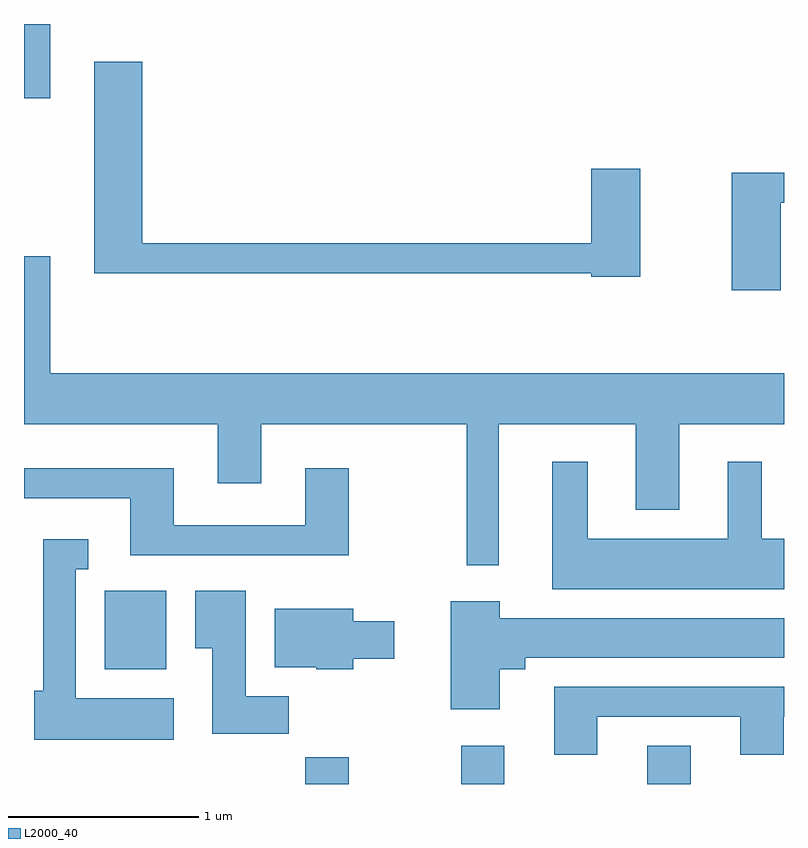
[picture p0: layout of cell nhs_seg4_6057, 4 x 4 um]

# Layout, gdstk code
import gdstk
lib = gdstk.Library(unit=1e-6, precision=1e-09)
def R(c, l, rs):  # rectangles x0, y0, x1, y1
    for r in rs: c.add(gdstk.rectangle(r[:2], r[2:], *l))
def P(c, l, *ps):  # polygons
    for p in ps: c.add(gdstk.Polygon(p, *l))
L2000_40 = (2000, 40)

nhs_seg4_6057 = lib.new_cell('nhs_seg4_6057')
R(nhs_seg4_6057, L2000_40, [(365.091,1263.982,365.319,1264.124), (365.911,1263.982,366.139,1264.184), (366.891,1263.982,367.119,1264.184), (364.036,1264.586,364.359,1264.999), (363.611,1267.591,363.749,1267.982)])
P(nhs_seg4_6057, L2000_40, [(366.854,1267.219),(366.596,1267.219),(366.596,1266.829),(364.234,1266.829),(364.234,1267.784),(363.981,1267.784),(363.981,1266.671),(366.596,1266.671),(366.596,1266.651),(366.854,1266.651)],
  [(367.594,1267.041),(367.611,1267.041),(367.611,1267.199),(367.336,1267.199),(367.336,1266.581),(367.594,1266.581)],
  [(366.109,1265.876),(366.831,1265.876),(366.831,1265.426),(367.059,1265.426),(367.059,1265.876),(367.611,1265.876),(367.611,1266.144),(363.749,1266.144),(363.749,1266.759),(363.611,1266.759),(363.611,1265.876),(364.631,1265.876),(364.631,1265.566),(364.859,1265.566),(364.859,1265.876),(365.941,1265.876),(365.941,1265.133),(366.109,1265.133)],
  [(367.611,1265.274),(367.494,1265.274),(367.494,1265.679),(367.316,1265.679),(367.316,1265.274),(366.579,1265.274),(366.579,1265.679),(366.391,1265.679),(366.391,1265.006),(367.611,1265.006)],
  [(365.319,1265.644),(365.091,1265.644),(365.091,1265.344),(364.399,1265.344),(364.399,1265.644),(363.611,1265.644),(363.611,1265.486),(364.171,1265.486),(364.171,1265.186),(365.319,1265.186)],
  [(364.399,1264.434),(363.884,1264.434),(363.884,1265.111),(363.948,1265.111),(363.948,1265.269),(363.711,1265.269),(363.711,1264.474),(363.666,1264.474),(363.666,1264.216),(364.399,1264.216)],
  [(365.004,1264.444),(364.779,1264.444),(364.779,1264.999),(364.511,1264.999),(364.511,1264.696),(364.601,1264.696),(364.601,1264.246),(365.004,1264.246)],
  [(366.114,1264.586),(366.249,1264.586),(366.249,1264.646),(367.611,1264.646),(367.611,1264.854),(366.114,1264.854),(366.114,1264.944),(365.856,1264.944),(365.856,1264.376),(366.114,1264.376)],
  [(365.344,1264.641),(365.559,1264.641),(365.559,1264.839),(365.344,1264.839),(365.344,1264.904),(364.931,1264.904),(364.931,1264.596),(365.15,1264.596),(365.15,1264.586),(365.344,1264.586)],
  [(366.629,1264.336),(367.381,1264.336),(367.381,1264.136),(367.609,1264.136),(367.609,1264.336),(367.611,1264.336),(367.611,1264.494),(366.401,1264.494),(366.401,1264.136),(366.629,1264.136)])

lib.write_gds('nhs_seg4_6057.gds')
